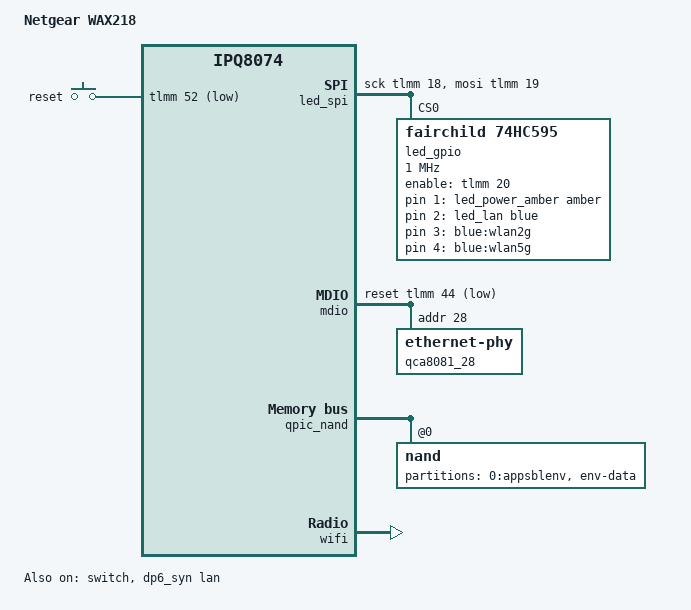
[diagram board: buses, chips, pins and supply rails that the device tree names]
// SPDX-License-Identifier: GPL-2.0-or-later OR MIT

/dts-v1/;

#include "ipq8074.dtsi"
#include "ipq8074-ess.dtsi"
#include "ipq8074-nss.dtsi"
#include "ipq8074-common.dtsi"
#include "ipq8074-hk-cpu.dtsi"

#include <dt-bindings/gpio/gpio.h>
#include <dt-bindings/input/input.h>
#include <dt-bindings/leds/common.h>

/ {
	model = "Netgear WAX218";
	compatible = "netgear,wax218", "qcom,ipq8074";

	aliases {
		serial0 = &blsp1_uart5;

		led-boot = &led_power_amber;
		led-failsafe = &led_power_amber;
		led-running = &led_power_amber;
		led-upgrade = &led_power_amber;
	};

	chosen {
		stdout-path = "serial0:115200n8";
		bootargs-append = " ubi.block=0,rootfs root=/dev/ubiblock0_1";
	};

	keys {
		compatible = "gpio-keys";

		reset {
			label = "reset";
			gpios = <&tlmm 52 GPIO_ACTIVE_LOW>;
			linux,code = <KEY_RESTART>;
		};
	};

	led_spi {
		compatible = "spi-gpio";
		#address-cells = <1>;
		#size-cells = <0>;

		sck-gpios = <&tlmm 18 GPIO_ACTIVE_HIGH>;
		mosi-gpios = <&tlmm 19 GPIO_ACTIVE_HIGH>;

		led_gpio: gpio {
			compatible = "fairchild,74hc595";
			reg = <0>;
			gpio-controller;
			#gpio-cells = <2>;
			registers-number = <2>;
			spi-max-frequency = <1000000>;
			enable-gpios = <&tlmm 20 GPIO_ACTIVE_HIGH>;
		};
	};

	leds {
		compatible = "gpio-leds";

		led_power_amber: power-amber {
			function = LED_FUNCTION_POWER;
			color = <LED_COLOR_ID_AMBER>;
			gpios = <&led_gpio 1 GPIO_ACTIVE_HIGH>;
		};

		led_lan {
			function = LED_FUNCTION_LAN;
			color = <LED_COLOR_ID_BLUE>;
			gpios = <&led_gpio 2 GPIO_ACTIVE_HIGH>;
		};

		led_wlan_2g {
			label = "blue:wlan2g";
			gpios = <&led_gpio 3 GPIO_ACTIVE_HIGH>;
		};

		led_wlan_5g {
			label = "blue:wlan5g";
			gpios = <&led_gpio 4 GPIO_ACTIVE_HIGH>;
		};
	};
};

&edma {
	status = "okay";
};

&switch {
	status = "okay";

	switch_lan_bmp = <ESS_PORT6>;
	switch_mac_mode = <MAC_MODE_PSGMII>;
	switch_mac_mode2 = <MAC_MODE_SGMII_PLUS>;

	qcom,port_phyinfo {
		port@6 {
			port_id = <6>;
			phy_address = <28>;
			port_mac_sel = "QGMAC_PORT";
		};
	};
};

&mdio {
	status = "okay";

	pinctrl-0 = <&mdio_pins>;
	pinctrl-names = "default";
	reset-gpios = <&tlmm 44 GPIO_ACTIVE_LOW>;

	qca8081_28: ethernet-phy@28 {
		reg = <28>;
	};
};

&dp6_syn {
	status = "okay";
	phy-handle = <&qca8081_28>;
	label = "lan";
	nvmem-cells = <&macaddr_ubootenv_ethaddr>;
	nvmem-cell-names = "mac-address";
};

&qpic_nand {
	status = "okay";

	nand@0 {
		reg = <0>;

		nand-ecc-strength = <4>;
		nand-ecc-step-size = <512>;
		nand-bus-width = <8>;

		partitions {
			compatible = "qcom,smem-part";

			partition-0-appsblenv {
				compatible = "fixed-partitions";
				#address-cells = <1>;
				#size-cells = <1>;

				label = "0:appsblenv";
				read-only;

				partition@0 {
					label = "env-data";
					reg = <0x00000000 0x00040000>;

					nvmem-layout {
						compatible = "u-boot,env";
						#address-cells = <1>;
						#size-cells = <1>;

						macaddr_ubootenv_ethaddr: ethaddr {};
					};
				};
			};
		};
	};
};

&wifi {
	status = "okay";
	qcom,ath11k-fw-memory-mode = <1>;
	qcom,ath11k-calibration-variant = "Netgear-WAX218";
};
